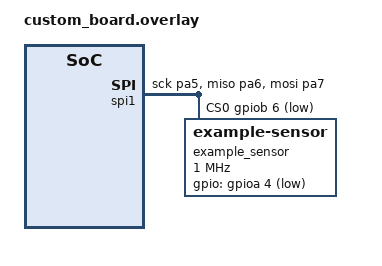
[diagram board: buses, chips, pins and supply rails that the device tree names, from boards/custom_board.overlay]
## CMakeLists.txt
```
# SPDX-License-Identifier: Apache-2.0
# ~~~
# Copyright (c) 2022 Swedish Embedded Group AB
# Consulting: https://swedishembedded.com/go
# Training: https://swedishembedded.com/tag/training
# ~~~

cmake_minimum_required(VERSION 3.13.1)
find_package(Zephyr REQUIRED HINTS $ENV{ZEPHYR_BASE})
project(example_sensor)

target_sources(app PRIVATE src/main.c)

check_clang_tidy(app)
```

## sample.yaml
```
# SPDX-License-Identifier: Apache-2.0
# Copyright (c) 2022 Martin Schröder <info@swedishembedded.com>
# Consulting: https://swedishembedded.com/go
# Training: https://swedishembedded.com/tag/training

sample:
  name: Example sensor sample
tests:
  samples.drivers.example.example_sensor.release:
    build_only: true
    integration_platforms:
      - native_posix
      - custom_board
```

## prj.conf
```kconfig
# SPDX-License-Identifier: Apache-2.0
# Copyright (c) 2022 Swedish Embedded Group AB
# Consulting: https://swedishembedded.com/go
# Training: https://swedishembedded.com/tag/training

CONFIG_SHELL=n
CONFIG_LOG=y
CONFIG_SPI=y
CONFIG_SPI_STM32_INTERRUPT=n
CONFIG_EXAMPLE_SENSOR=y
CONFIG_EXAMPLE_LIBRARY=y
```

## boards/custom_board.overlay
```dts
/* SPDX-License-Identifier: Apache-2.0 */
/**
 * Copyright 2022 Martin Schröder <info@swedishembedded.com>
 * Consulting: https://swedishembedded.com/go
 * Training: https://swedishembedded.com/tag/training
 */
&spi1 {
	pinctrl-0 = <&spi1_sck_pa5 &spi1_miso_pa6 &spi1_mosi_pa7>;
	pinctrl-names = "default";
	cs-gpios = <
		&gpiob 6 (GPIO_ACTIVE_LOW | GPIO_PULL_UP)
	>;
	status = "okay";

	example_sensor: example_sensor@0{
		reg = <0>;
		compatible = "example-sensor";
		gpios = <&gpioa 4 GPIO_ACTIVE_LOW>;
		spi-max-frequency = <1000000>;
		status = "okay";
	};
};
```

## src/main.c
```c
// SPDX-License-Identifier: Apache-2.0
/**
 * Copyright 2022 Martin Schröder <info@swedishembedded.com>
 * Consulting: https://swedishembedded.com/go
 * Training: https://swedishembedded.com/tag/training
 **/

#include <zephyr/device.h>
#include <zephyr/drivers/sensor.h>
#include <zephyr/kernel.h>

#include <example/example.h>
#include <project_version.h>

void main(void)
{
	printk("Sample started (v%s)\n", PROJECT_VERSION_STRING);

	while (true) {
		const struct device *dev = device_get_binding("EXAMPLE_SENSOR");
		struct sensor_value val;

		printk("Fetching sample...\n");
		sensor_sample_fetch(dev);
		if (sensor_channel_get(dev, SENSOR_CHAN_AMBIENT_TEMP, &val) == 0) {
			printk("Temperature: %d.%d\n", val.val1, val.val2);
		} else {
			printk("Failed to read sensor\n");
		}
	}
};
```
